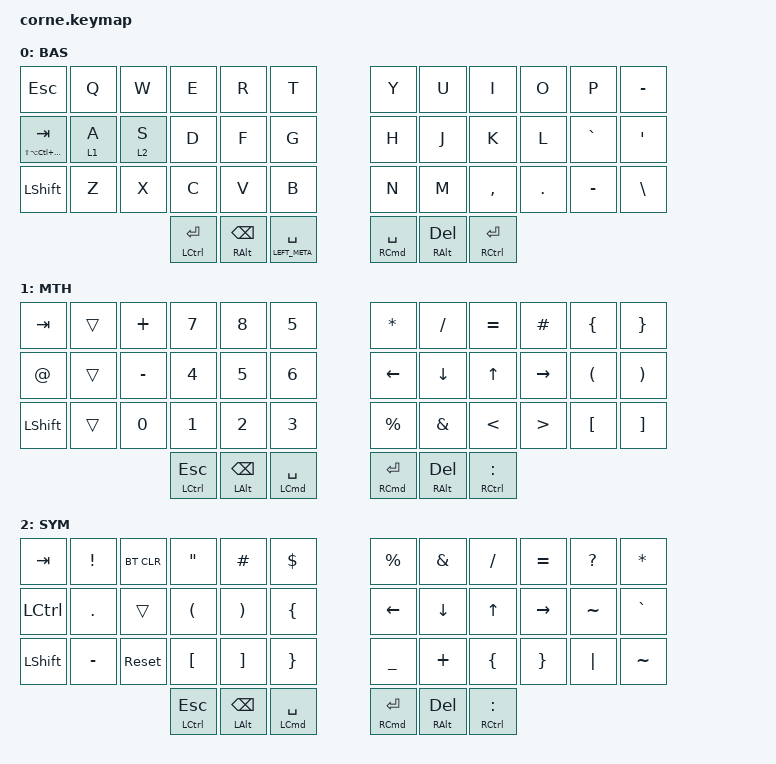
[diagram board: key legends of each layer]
/*
 * Copyright (c) 2020 The ZMK Contributors
 *
 * SPDX-License-Identifier: MIT
 */

#include <dt-bindings/led/led.h>
#include <dt-bindings/zmk/reset.h>
#include <behaviors.dtsi>
#include <dt-bindings/zmk/bt.h>
#include <dt-bindings/zmk/keys.h>

&led_strip { chain-length = <27>; };

/ {
    keymap {
        compatible = "zmk,keymap";

        default_layer {
            display-name = "BAS";

            // -----------------------------------------------------------------------------------------
            // |  TAB |  Q  |  W  |  E  |  R  |  T  |   |  Y  |  U   |  I  |  O  |  P  | BKSP |
            // | CTRL |  A  |  S  |  D  |  F  |  G  |   |  H  |  J   |  K  |  L  |  ;  |  '   |
            // | SHFT |  Z  |  X  |  C  |  V  |  B  |   |  N  |  M   |  ,  |  .  |  /  | ESC  |
            //                    | GUI | LWR | SPC |   | ENT | RSE  | ALT |

            bindings = <
&kp ESCAPE                          &kp Q    &kp W    &kp E          &kp R                    &kp T                  &kp Y                    &kp U                 &kp I                    &kp O    &kp P      &kp MINUS
&mt LS(LA(LC(LG(LEFT_SHIFT)))) TAB  &lt 1 A  &lt 2 S  &kp D          &kp F                    &kp G                  &kp H                    &kp J                 &kp K                    &kp L    &kp GRAVE  &kp SQT
&kp LEFT_SHIFT                      &kp Z    &kp X    &kp C          &kp V                    &kp B                  &kp N                    &kp M                 &kp COMMA                &kp DOT  &kp MINUS  &kp BSLH
                                                      &mt LCTRL RET  &mt RIGHT_ALT BACKSPACE  &mt LEFT_META SPACE    &mt RIGHT_COMMAND SPACE  &mt RIGHT_ALT DELETE  &mt RIGHT_CONTROL ENTER
            >;
        };

        math_layer {
            display-name = "MTH";

            // -----------------------------------------------------------------------------------------
            // |  TAB |  1  |  2  |  3  |  4  |  5  |   |  6  |  7  |  8  |  9  |  0  | BKSP |
            // | BTCLR| BT1 | BT2 | BT3 | BT4 | BT5 |   | LFT | DWN |  UP | RGT |     |      |
            // | SHFT |     |     |     |     |     |   |     |     |     |     |     |      |
            //                    | GUI |     | SPC |   | ENT |     | ALT |

            bindings = <
&kp TAB      &trans  &kp PLUS      &kp N7            &kp NUMBER_8            &kp N5                    &kp ASTERISK           &kp SLASH             &kp EQUAL        &kp HASH          &kp LEFT_BRACE        &kp RIGHT_BRACE
&kp AT_SIGN  &trans  &kp MINUS     &kp NUMBER_4      &kp NUMBER_5            &kp NUMBER_6              &kp LEFT               &kp DOWN              &kp UP           &kp RIGHT         &kp LEFT_PARENTHESIS  &kp RIGHT_PARENTHESIS
&kp LSHFT    &trans  &kp NUMBER_0  &kp NUMBER_1      &kp NUMBER_2            &kp NUMBER_3              &kp PERCENT            &kp AMPERSAND         &kp LESS_THAN    &kp GREATER_THAN  &kp LEFT_BRACKET      &kp RIGHT_BRACKET
                                   &mt LCTRL ESCAPE  &mt LEFT_ALT BACKSPACE  &mt LEFT_COMMAND SPACE    &mt RIGHT_COMMAND RET  &mt RIGHT_ALT DELETE  &mt RCTRL COLON
            >;
        };

        symbol_layer {
            display-name = "SYM";

            // -----------------------------------------------------------------------------------------
            // |  TAB |  !  |  @  |  #  |  $  |  %  |   |  ^  |  &  |  *  |  (  |  )  | BKSP |
            // | CTRL |     |     |     |     |     |   |  -  |  =  |  [  |  ]  |  \  |  `   |
            // | SHFT |     |     |     |     |     |   |  _  |  +  |  {  |  }  | "|" |  ~   |
            //                    | GUI |     | SPC |   | ENT |     | ALT |

            bindings = <
&kp TAB    &kp EXCL    &bt BT_CLR  &kp DOUBLE_QUOTES     &kp HASH                &kp DOLLAR                &kp PERCENT            &kp AMPERSAND         &kp SLASH        &kp EQUAL  &kp QUESTION  &kp ASTERISK
&kp LCTRL  &kp PERIOD  &trans      &kp LEFT_PARENTHESIS  &kp RIGHT_PARENTHESIS   &kp LEFT_BRACE            &kp LEFT_ARROW         &kp DOWN              &kp UP_ARROW     &kp RIGHT  &kp TILDE     &kp GRAVE
&kp LSHFT  &kp MINUS   &sys_reset  &kp LEFT_BRACKET      &kp RIGHT_BRACKET       &kp RIGHT_BRACE           &kp UNDER              &kp PLUS              &kp LBRC         &kp RBRC   &kp PIPE      &kp TILDE
                                   &mt LCTRL ESCAPE      &mt LEFT_ALT BACKSPACE  &mt LEFT_COMMAND SPACE    &mt RIGHT_COMMAND RET  &mt RIGHT_ALT DELETE  &mt RCTRL COLON
            >;
        };
    };
};
